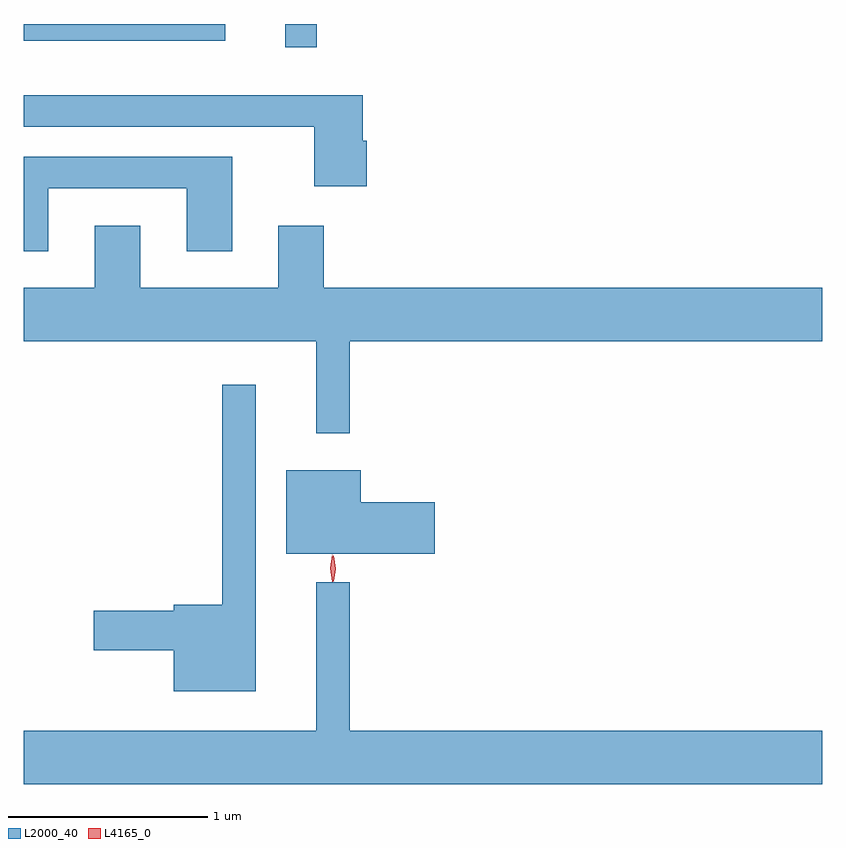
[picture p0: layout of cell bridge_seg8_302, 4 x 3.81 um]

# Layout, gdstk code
import gdstk
lib = gdstk.Library(unit=1e-6, precision=1e-09)
def R(c, l, rs):  # rectangles x0, y0, x1, y1
    for r in rs: c.add(gdstk.rectangle(r[:2], r[2:], *l))
def P(c, l, *ps):  # polygons
    for p in ps: c.add(gdstk.Polygon(p, *l))
L2000_40 = (2000, 40)
L4165_0 = (4165, 0)

bridge_seg8_302 = lib.new_cell('bridge_seg8_302')
R(bridge_seg8_302, L2000_40, [(968.806,1913.368,968.964,1913.485), (967.496,1913.401,968.504,1913.485)])
P(bridge_seg8_302, L2000_40, [(969.214,1912.899),(969.194,1912.899),(969.194,1913.129),(967.496,1913.129),(967.496,1912.971),(968.951,1912.971),(968.951,1912.671),(969.214,1912.671)],
  [(967.619,1912.661),(968.311,1912.661),(968.311,1912.346),(968.539,1912.346),(968.539,1912.819),(967.496,1912.819),(967.496,1912.346),(967.619,1912.346)],
  [(969.129,1911.896),(971.496,1911.896),(971.496,1912.164),(968.999,1912.164),(968.999,1912.474),(968.771,1912.474),(968.771,1912.164),(968.079,1912.164),(968.079,1912.474),(967.851,1912.474),(967.851,1912.164),(967.496,1912.164),(967.496,1911.896),(968.961,1911.896),(968.961,1911.433),(969.129,1911.433)],
  [(968.659,1911.678),(968.491,1911.678),(968.491,1910.574),(968.246,1910.574),(968.246,1910.544),(967.846,1910.544),(967.846,1910.346),(968.246,1910.346),(968.246,1910.141),(968.659,1910.141)],
  [(969.554,1911.089),(969.184,1911.089),(969.184,1911.249),(968.811,1911.249),(968.811,1910.831),(969.554,1910.831)],
  [(971.496,1909.944),(969.129,1909.944),(969.129,1910.688),(968.961,1910.688),(968.961,1909.944),(967.496,1909.944),(967.496,1909.676),(971.496,1909.676)])
P(bridge_seg8_302, L4165_0, [(969.042,1910.69),(969.032,1910.758),(969.041,1910.826),(969.042,1910.826),(969.042,1910.826),(969.052,1910.758),(969.043,1910.69),(969.043,1910.69)],
  [(969.047,1910.693),(969.038,1910.756),(969.047,1910.819),(969.048,1910.82),(969.048,1910.819),(969.058,1910.756),(969.048,1910.693),(969.048,1910.693)])

lib.write_gds('bridge_seg8_302.gds')
